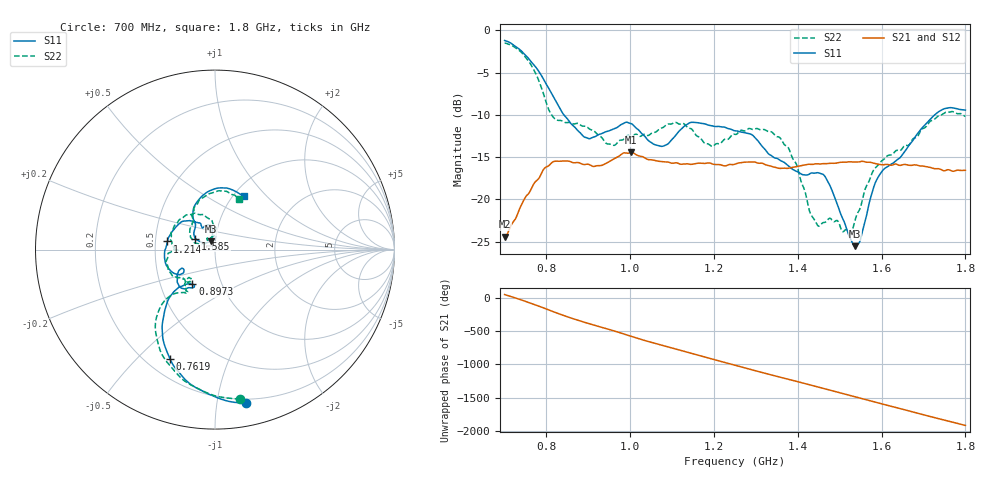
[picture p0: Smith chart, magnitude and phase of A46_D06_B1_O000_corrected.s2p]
! Created with skrf 1.9.0 (http://scikit-rf.org).
# Hz S RI R 50.0
!freq ReS11 ImS11 ReS21 ImS21 ReS12 ImS12 ReS22 ImS22
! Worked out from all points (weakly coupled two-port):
!   1601 points, 700 MHz to 1.8 GHz, reference 50 ohm
!   highest |S21| = -14.44 dB at 1.002 GHz (marker M1); lowest = -24.4 dB at 700 MHz (marker M2)
!   lowest |S11| = -25.5 dB at 1.536 GHz (marker M3), VSWR 1.11, Z = 47.4 + j4.44 ohm
!   |S11| at or under -10 dB: 841.5 MHz to 1.727 GHz (885.2 MHz wide, 68.9 % of centre)
!   |S22| runs from -24.0 to -1.5 dB; largest |S21 - S12| = 0.0035
!   S11 on the Smith chart (normalised r, x): 700 MHz: 0.17, -1.21; 761.9 MHz: 0.29, -0.63; 897.3 MHz: 0.73, -0.30; 1.214 GHz: 0.58, +0.06; 1.585 GHz: 0.80, +0.10; 1.8 GHz: 1.12, +0.75
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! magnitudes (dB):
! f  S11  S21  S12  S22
! 700 MHz  -1.2  -24.4  -24.2  -1.5
! 761.9 MHz  -3.6  -18.9  -18.9  -4.0
! 816.2 MHz  -7.8  -15.5  -15.6  -10.3
! 883.6 MHz  -12.3  -15.8  -15.7  -11.3
! 897.3 MHz  -12.7  -15.8  -15.9  -11.4
! 957.8 MHz  -11.7  -15.3  -15.3  -13.6
! 1.002 GHz  -11.0  -14.4  -14.5  -12.6
! 1.067 GHz  -13.6  -15.5  -15.4  -11.8
! 1.143 GHz  -10.9  -15.9  -15.8  -11.6
! 1.214 GHz  -11.4  -15.9  -15.9  -13.4
! 1.25 GHz  -11.9  -15.8  -15.8  -12.3
! 1.358 GHz  -15.4  -16.3  -16.3  -12.7
! 1.396 GHz  -16.7  -16.1  -16.1  -15.8
! 1.434 GHz  -16.9  -15.9  -15.8  -22.0
! 1.468 GHz  -17.6  -15.8  -15.7  -22.6
! 1.524 GHz  -24.5  -15.6  -15.5  -24.0
! 1.536 GHz  -25.5  -15.6  -15.6  -22.6
! 1.55 GHz  -24.7  -15.5  -15.5  -20.9
! 1.585 GHz  -18.0  -15.8  -15.8  -16.3
! 1.617 GHz  -16.0  -15.9  -15.9  -14.8
! 1.734 GHz  -9.7  -16.4  -16.4  -10.2
! 1.8 GHz  -9.4  -16.6  -16.6  -10.2
